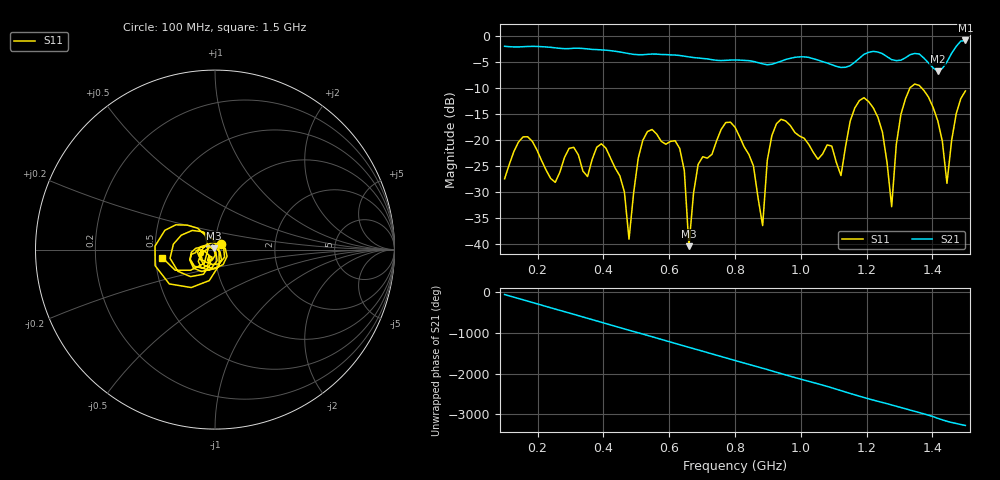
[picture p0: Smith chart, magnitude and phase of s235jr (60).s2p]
! NanoVNA-App
! Date: 2025-09-25 15:04:37
! Start: 100MHz Stop: 1,5GHz Points: 101
! S-Parameter data: F S11 S21 S12 S22
# Hz S RI R 50
!  Frequency  S11_Real  S11_Imag  S21_Real  S21_Imag  S12_Real  S12_Imag  S22_Real  S22_Imag
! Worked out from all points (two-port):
!   101 points, 100 MHz to 1.5 GHz, reference 50 ohm
!   highest |S21| = -0.84 dB at 1.5 GHz (marker M1); lowest = -6.8 dB at 1.416 GHz (marker M2)
!   |S21| within 3 dB of the highest: start of sweep to 643.3 MHz; 1.186 GHz to 1.259 GHz (72.92 MHz wide, 5.97 % of centre) (the widest 2 of 4)
!   lowest |S11| = -40.5 dB at 660 MHz (marker M3), VSWR 1.02, Z = 49.3 + j0.631 ohm
!   |S11| at or under -10 dB: start of sweep to 1.332 GHz; 1.367 GHz to end of sweep
!   S12 and S22 are empty: the file has one direction only
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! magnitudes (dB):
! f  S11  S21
! 100 MHz  -27.5  -2.0
! 156 MHz  -19.4  -2.0
! 338 MHz  -26.0  -2.4
! 408 MHz  -21.6  -2.7
! 478 MHz  -39.1  -3.4
! 520 MHz  -20.1  -3.6
! 576 MHz  -20.3  -3.5
! 632 MHz  -21.6  -3.7
! 660 MHz  -40.5  -4.0
! 688 MHz  -24.7  -4.2
! 800 MHz  -17.5  -4.6
! 884 MHz  -36.5  -5.3
! 926 MHz  -16.9  -5.1
! 1.038 GHz  -22.4  -4.4
! 1.122 GHz  -26.9  -6.0
! 1.192 GHz  -11.9  -3.5
! 1.248 GHz  -18.5  -3.4
! 1.276 GHz  -32.9  -4.5
! 1.332 GHz  -9.9  -3.6
! 1.416 GHz  -16.3  -6.8
! 1.444 GHz  -28.4  -5.0
! 1.5 GHz  -10.6  -0.8
